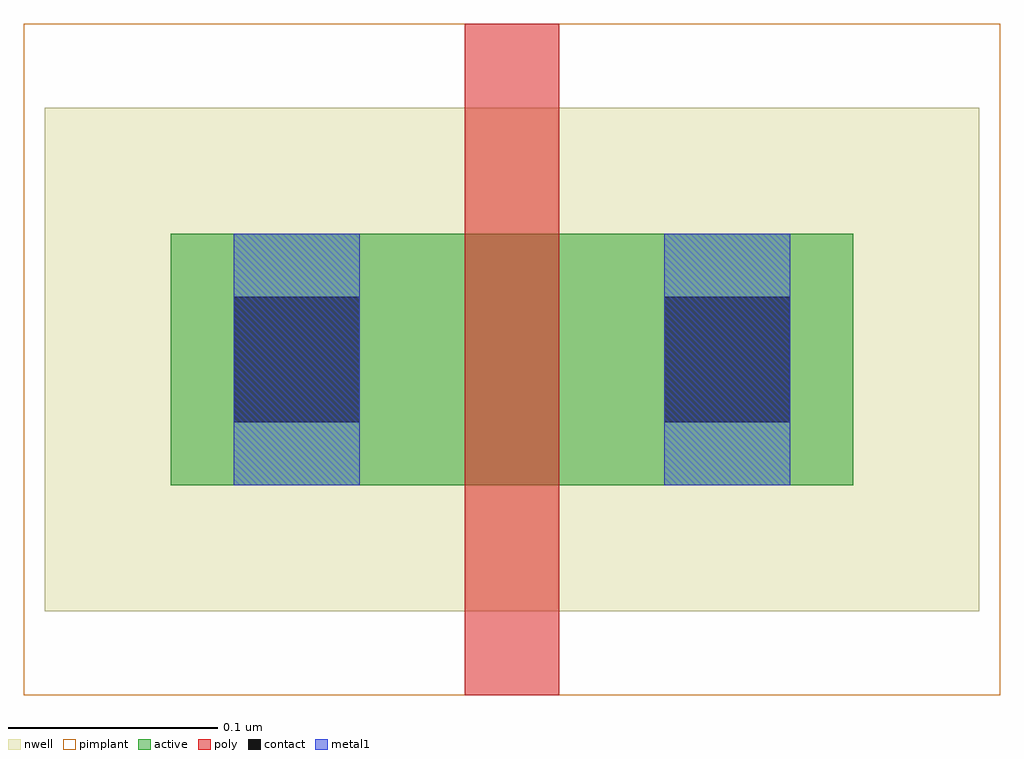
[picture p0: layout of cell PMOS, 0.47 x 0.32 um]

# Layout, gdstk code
import gdstk
lib = gdstk.Library(unit=1e-6, precision=5e-10)
def R(c, l, rs):  # rectangles x0, y0, x1, y1
    for r in rs: c.add(gdstk.rectangle(r[:2], r[2:], *l))
active = (1, 0)
nwell = (2, 0)
poly = (3, 0)
pimplant = (5, 0)
contact = (6, 0)
metal1 = (7, 0)

pmos = lib.new_cell('PMOS')
R(pmos, active, [(-0.185,-0.055,0.14,0.065)])
R(pmos, nwell, [(-0.245,-0.115,0.2,0.125)])
R(pmos, poly, [(-0.045,-0.155,0,0.165)])
R(pmos, pimplant, [(-0.255,-0.155,0.21,0.165)])
R(pmos, contact, [(-0.155,-0.025,-0.095,0.035), (0.05,-0.025,0.11,0.035)])
R(pmos, metal1, [(-0.155,-0.055,-0.095,0.065), (0.05,-0.055,0.11,0.065)])

lib.write_gds('PMOS.gds')
